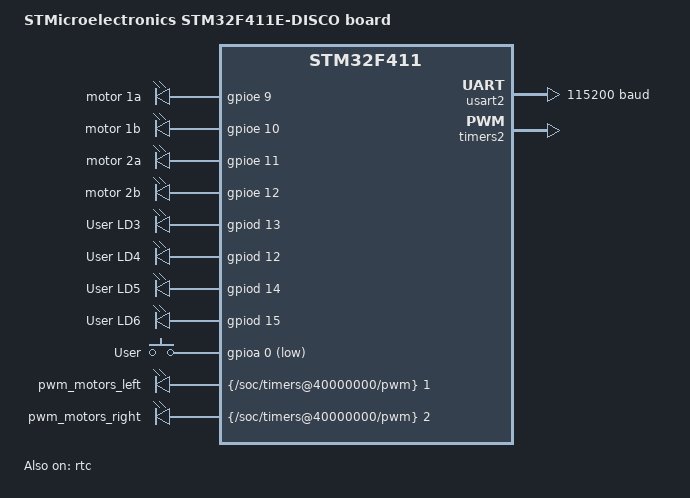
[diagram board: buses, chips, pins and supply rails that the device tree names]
/*
 * Copyright (c) 2017 Fenix Engineering Solutions
 *
 * SPDX-License-Identifier: Apache-2.0
 */

/dts-v1/;
#include <st/f4/stm32f411Xe.dtsi>

/ {
	model = "STMicroelectronics STM32F411E-DISCO board";
	compatible = "st,stm32f411e-disco", "st,stm32f411";

	chosen {
		zephyr,console = &usart2;
		zephyr,shell-uart = &usart2;
		zephyr,sram = &sram0;
		zephyr,flash = &flash0;
	};
	
	
	motor_control
	{
	   compatible = "gpio-leds";
	   motor_1a: motor_1a {
			gpios = <&gpioe 9 GPIO_INT_ACTIVE_HIGH>;
			label = "motor 1a";
	   };
	   motor_1b: motor_1b {
			gpios = <&gpioe 10 GPIO_INT_ACTIVE_HIGH>;
			label = "motor 1b";
	   };
	   motor_2a: motor_2a {
			gpios = <&gpioe 11 GPIO_INT_ACTIVE_HIGH>;
			label = "motor 2a";
	   };
	   motor_2b: motor_2b {
			gpios = <&gpioe 12 GPIO_INT_ACTIVE_HIGH>;
			label = "motor 2b";
	   };
	};

	leds {
		compatible = "gpio-leds";
		orange_led_3: led_3 {
			gpios = <&gpiod 13 GPIO_INT_ACTIVE_HIGH>;
			label = "User LD3";
		};
		green_led_4: led_4 {
			gpios = <&gpiod 12 GPIO_INT_ACTIVE_HIGH>;
			label = "User LD4";
		};
		red_led_5: led_5 {
			gpios = <&gpiod 14 GPIO_INT_ACTIVE_HIGH>;
			label = "User LD5";
		};
		blue_led_6: led_6 {
			gpios = <&gpiod 15 GPIO_INT_ACTIVE_HIGH>;
			label = "User LD6";
		};
	};

	gpio_keys {
		compatible = "gpio-keys";
		user_button: button {
			label = "User";
			gpios = <&gpioa 0 GPIO_INT_ACTIVE_LOW>;
		};
	};
	
       pwm_motors {
               compatible = "pwm-leds";
               pwm_motors_left:  pwm_motors_left {
                       pwms = <&{/soc/timers@40000000/pwm} 1 0>;
               };
               pwm_motors_right:  pwm_motors_right {
                       pwms = <&{/soc/timers@40000000/pwm} 2 0>;
               };
       };



	aliases {
		led0 = &green_led_4;
		led1 = &orange_led_3;
		led2 = &red_led_5;
		led3 = &blue_led_6;
		sw0 = &user_button;
		pwm-motor-left = &pwm_motors_left;
		pwm-motor-right = &pwm_motors_right; 
	};
};

&usart2 {
	current-speed = <115200>;
	status = "okay";
};

&timers2 {
       status = "okay";

       pwm {
               st,prescaler = <100>; 
               status = "okay";
       };
};


&rtc {
	status = "okay";
};
